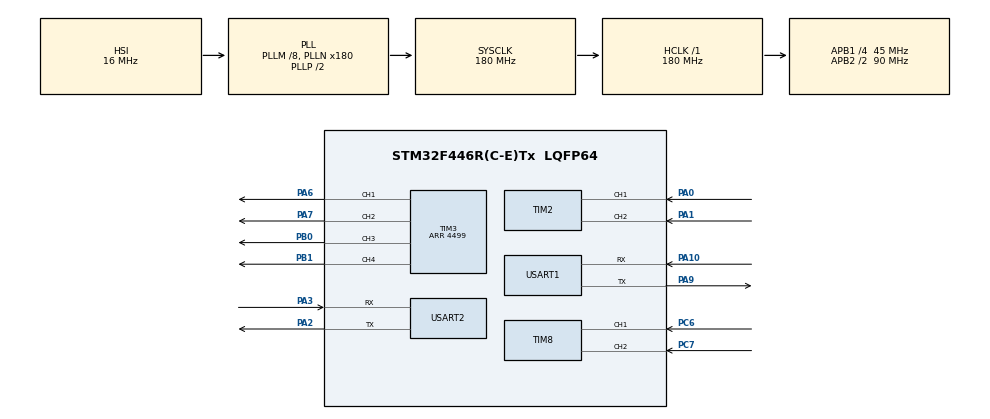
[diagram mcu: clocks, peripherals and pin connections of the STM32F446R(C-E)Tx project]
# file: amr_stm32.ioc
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Mcu.Family=STM32F4
Mcu.Name=STM32F446R(C-E)Tx
Mcu.Package=LQFP64
NVIC.PriorityGroup=NVIC_PRIORITYGROUP_4
NVIC.USART2_IRQn=true\:0\:0\:false\:false\:true\:true\:true\:true
PA0-WKUP.Signal=S_TIM2_CH1_ETR
PA1.Signal=S_TIM2_CH2
PA10.Mode=Asynchronous
PA10.Signal=USART1_RX
PA13.Mode=Serial_Wire
PA13.Signal=SYS_JTMS-SWDIO
PA14.Mode=Serial_Wire
PA14.Signal=SYS_JTCK-SWCLK
PA2.Mode=Asynchronous
PA2.Signal=USART2_TX
PA3.Mode=Asynchronous
PA3.Signal=USART2_RX
PA6.Signal=S_TIM3_CH1
PA7.Signal=S_TIM3_CH2
PA9.Mode=Asynchronous
PA9.Signal=USART1_TX
PB0.Signal=S_TIM3_CH3
PB1.Signal=S_TIM3_CH4
PC6.Signal=S_TIM8_CH1
PC7.Signal=S_TIM8_CH2
PH0-OSC_IN.Mode=HSE-External-Clock-Source
PH0-OSC_IN.Signal=RCC_OSC_IN
PH1-OSC_OUT.Mode=HSE-External-Clock-Source
PH1-OSC_OUT.Signal=RCC_OSC_OUT
ProjectManager.HeapSize=0x400
ProjectManager.StackSize=0x400
ProjectManager.TargetToolchain=STM32CubeIDE
RCC.AHBFreq_Value=180000000
RCC.APB1CLKDivider=RCC_HCLK_DIV4
RCC.APB1Freq_Value=45000000
RCC.APB1TimFreq_Value=90000000
RCC.APB2CLKDivider=RCC_HCLK_DIV2
RCC.APB2Freq_Value=90000000
RCC.APB2TimFreq_Value=180000000
RCC.CortexFreq_Value=180000000
RCC.HCLKFreq_Value=180000000
RCC.PLLM=8
RCC.PLLN=180
RCC.SYSCLKFreq_VALUE=180000000
RCC.SYSCLKSource=RCC_SYSCLKSOURCE_PLLCLK
RCC.USBFreq_Value=180000000
RCC.VCOOutputFreq_Value=360000000
SH.S_TIM2_CH1_ETR.0=TIM2_CH1,Encoder_Interface
SH.S_TIM2_CH2.0=TIM2_CH2,Encoder_Interface
SH.S_TIM3_CH1.0=TIM3_CH1,PWM Generation1 CH1
SH.S_TIM3_CH2.0=TIM3_CH2,PWM Generation2 CH2
SH.S_TIM3_CH3.0=TIM3_CH3,PWM Generation3 CH3
SH.S_TIM3_CH4.0=TIM3_CH4,PWM Generation4 CH4
SH.S_TIM8_CH1.0=TIM8_CH1,Encoder_Interface
SH.S_TIM8_CH2.0=TIM8_CH2,Encoder_Interface
TIM2.EncoderMode=TIM_ENCODERMODE_TI12
TIM3.Channel-PWM\ Generation1\ CH1=TIM_CHANNEL_1
TIM3.Channel-PWM\ Generation2\ CH2=TIM_CHANNEL_2
TIM3.Channel-PWM\ Generation3\ CH3=TIM_CHANNEL_3
TIM3.Channel-PWM\ Generation4\ CH4=TIM_CHANNEL_4
TIM3.Period=4499
TIM8.EncoderMode=TIM_ENCODERMODE_TI12
USART1.VirtualMode=VM_ASYNC
USART2.VirtualMode=VM_ASYNC
VP_TIM3_VS_ClockSourceINT.Mode=Internal
VP_TIM3_VS_ClockSourceITR.Mode=TriggerSource_ITR0
board=custom

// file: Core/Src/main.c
/* USER CODE BEGIN Header */
/**
  ******************************************************************************
  * @file           : main.c
  * @brief          : Main program body
  ******************************************************************************
  * @attention
  *
  * Copyright (c) 2026 STMicroelectronics.
  * All rights reserved.
  *
  * This software is licensed under terms that can be found in the LICENSE file
  * in the root directory of this software component.
  * If no LICENSE file comes with this software, it is provided AS-IS.
  *
  ******************************************************************************
  */
/* USER CODE END Header */
#include "main.h"
#include "tim.h"
#include "usart.h"
#include "gpio.h"

/* USER CODE BEGIN Includes */
#include <stdio.h>          /* snprintf cho debug output */
#include "motor_driver.h"
#include "servo_buslinker.h"
#include "jetson_comm.h"
#include "ackermann.h"
/* USER CODE END Includes */

/* USER CODE BEGIN PD */
/* Hằng số chuyển đổi cmd_vel nằm trong ackermann.c (CALC_Ackermann) */
/* USER CODE END PD */

/* USER CODE BEGIN PV */
static uint32_t last_odom_ms = 0;     /* Mốc thời gian gửi odom gần nhất */
static float    current_steer = 0.0f; /* Góc lái hiện tại (độ) để gửi lên Jetson */

/* ===== Watchdog lệnh $VEL từ Jetson (AN TOÀN — bắt buộc, xem giải thích ở
 * vòng lặp chính bên dưới). Phát hiện 2026-07-04: kill hết node ROS trên
 * Jetson (hoặc rút cáp USB/USART2) nhưng xe VẪN chạy mãi ở tốc độ lệnh cuối
 * cùng, vì watchdog nội bộ của Hiwonder Motor Driver (tự dừng nếu >2s không
 * nhận I2C) bị "cho ăn" liên tục bởi việc STM32 đọc encoder mỗi 10ms bất kể
 * có $VEL mới hay không -> watchdog đó không bao giờ kích hoạt. STM32 phải
 * tự bảo vệ, không thể trông chờ Jetson luôn gửi lệnh đều đặn. ===== */
#define VEL_WATCHDOG_TIMEOUT_MS   300U  /* CẦN TUNE thực nghiệm: đủ ngắn để an
                                          * toàn, đủ dài để không dừng nhầm do
                                          * jitter mạng/CPU phía Jetson */
static uint32_t last_vel_rx_ms       = 0; /* Mốc thời gian nhận $VEL hợp lệ gần nhất */
static uint8_t  vel_watchdog_tripped = 0; /* Tránh gọi SetSpeed(0,0) lặp lại mỗi vòng lặp */
/* USER CODE END PV */

void SystemClock_Config(void);
/* USER CODE BEGIN PFP */
static void on_cmd_vel(float linear, float angular);
/* USER CODE END PFP */

int main(void)
{

  /* MCU Configuration--------------------------------------------------------*/

  /* Reset of all peripherals, Initializes the Flash interface and the Systick. */
  HAL_Init();

  /* Configure the system clock */
  SystemClock_Config();

  /* Initialize all configured peripherals */
  MX_GPIO_Init();
  MX_USART1_UART_Init();
  MX_USART2_UART_Init();
  MX_TIM2_Init();
  MX_TIM3_Init();
  MX_TIM8_Init();
  /* USER CODE BEGIN 2 */
  HAL_Delay(500);          // Đủ để các module boot, không trigger motor timeout
  DRV_Motor_Init();        // Không check return — tiếp tục dù config fail
  DRV_Servo_Init();        // Servo về vị trí trung tâm (lái thẳng)
  APP_Comm_Init(on_cmd_vel); // Bật UART2 nhận lệnh "$VEL" từ Jetson
  /* USER CODE END 2 */

  /* Infinite loop */
  while (1)
  {

    /* USER CODE BEGIN 3 */
	  /* ---- Gửi odometry lên Jetson định kỳ mỗi 10ms (100 Hz) ---- */
	  uint32_t now = HAL_GetTick();
	  if (now - last_odom_ms >= 10U) {
		  last_odom_ms = now;

		  /* Đọc encoder 2 bánh */
		  int32_t enc_l = 0, enc_r = 0;
		  DRV_Motor_GetEncoder(&enc_l, &enc_r);

		  /* debug: bật lại nếu nghi ngờ I2C lỗi (in mã lỗi đọc encoder qua UART2)
		  if (g_last_enc_i2c_err != 0) {
			  char errdbg[48];
			  snprintf(errdbg, sizeof(errdbg), "ENCERR:%c%d,ec=0x%lX\r\n",
					   g_last_enc_i2c_step, (int)g_last_enc_i2c_err,
					   (unsigned long)g_last_enc_i2c_ec);
			  APP_Comm_DebugPrint(errdbg);
		  }
		  */

		  /* Gửi "$ODO,enc_l,enc_r,steer\n" lên Jetson */
		  APP_Comm_SendOdom(enc_l, enc_r, current_steer);
	  }

	  /* ---- Xử lý lệnh "$VEL" nhận từ Jetson (gọi on_cmd_vel khi đủ frame) ---- */
	  APP_Comm_Parse();

	  /* ---- AN TOÀN: watchdog $VEL — xem giải thích đầy đủ ở khai báo biến
	   * last_vel_rx_ms phía trên. Không dùng watchdog I2C của Hiwonder vì nó
	   * bị "cho ăn" liên tục bởi việc đọc encoder mỗi 10ms ở trên, dù Jetson
	   * đã ngừng gửi lệnh từ lâu (node ROS chết, rút cáp USB/USART2...). ---- */
	  if (last_vel_rx_ms != 0U && !vel_watchdog_tripped &&
	      (now - last_vel_rx_ms) > VEL_WATCHDOG_TIMEOUT_MS) {
		  DRV_Motor_SetSpeed(0, 0);
		  vel_watchdog_tripped = 1U;
	  }
  }
  /* USER CODE END 3 */
}

void SystemClock_Config(void)
{
  RCC_OscInitTypeDef RCC_OscInitStruct = {0};
  RCC_ClkInitTypeDef RCC_ClkInitStruct = {0};

  /** Configure the main internal regulator output voltage
  */
  __HAL_RCC_PWR_CLK_ENABLE();
  __HAL_PWR_VOLTAGESCALING_CONFIG(PWR_REGULATOR_VOLTAGE_SCALE1);

  /** Initializes the RCC Oscillators according to the specified parameters
  * in the RCC_OscInitTypeDef structure.
  */
  RCC_OscInitStruct.OscillatorType = RCC_OSCILLATORTYPE_HSI;
  RCC_OscInitStruct.HSIState = RCC_HSI_ON;
  RCC_OscInitStruct.HSICalibrationValue = RCC_HSICALIBRATION_DEFAULT;
  RCC_OscInitStruct.PLL.PLLState = RCC_PLL_ON;
  RCC_OscInitStruct.PLL.PLLSource = RCC_PLLSOURCE_HSI;
  RCC_OscInitStruct.PLL.PLLM = 8;
  RCC_OscInitStruct.PLL.PLLN = 180;
  RCC_OscInitStruct.PLL.PLLP = RCC_PLLP_DIV2;
  RCC_OscInitStruct.PLL.PLLQ = 2;
  RCC_OscInitStruct.PLL.PLLR = 2;
  if (HAL_RCC_OscConfig(&RCC_OscInitStruct) != HAL_OK)
  {
    Error_Handler();
  }

  /** Activate the Over-Drive mode
  */
  if (HAL_PWREx_EnableOverDrive() != HAL_OK)
  {
    Error_Handler();
  }

  /** Initializes the CPU, AHB and APB buses clocks
  */
  RCC_ClkInitStruct.ClockType = RCC_CLOCKTYPE_HCLK|RCC_CLOCKTYPE_SYSCLK
                              |RCC_CLOCKTYPE_PCLK1|RCC_CLOCKTYPE_PCLK2;
  RCC_ClkInitStruct.SYSCLKSource = RCC_SYSCLKSOURCE_PLLCLK;
  RCC_ClkInitStruct.AHBCLKDivider = RCC_SYSCLK_DIV1;
  RCC_ClkInitStruct.APB1CLKDivider = RCC_HCLK_DIV4;
  RCC_ClkInitStruct.APB2CLKDivider = RCC_HCLK_DIV2;

  if (HAL_RCC_ClockConfig(&RCC_ClkInitStruct, FLASH_LATENCY_5) != HAL_OK)
  {
    Error_Handler();
  }
}

/* USER CODE BEGIN 4 */
/**
 * @brief  Callback nhận lệnh cmd_vel từ Jetson qua UART2.
 *         Gọi tự động từ APP_Comm_Parse() khi parse đủ 1 lệnh "$VEL" hợp lệ.
 * @note   Quy đổi Twist -> Ackermann nằm trong CALC_Ackermann (ackermann.c).
 *         Kiểm tra chiều quay motor và chiều lái servo trước khi chạy tự động.
 */
static void on_cmd_vel(float linear, float angular)
{
    int8_t spd_l, spd_r;
    /* Quy đổi cmd_vel -> tốc độ 2 bánh + góc lái; lưu góc lái để gửi odom */
    CALC_Ackermann(linear, angular, &spd_l, &spd_r, &current_steer);

    DRV_Motor_SetSpeed(spd_l, spd_r);
    DRV_Servo_SetAngle(current_steer);

    /* AN TOÀN: ghi nhận mốc thời gian nhận $VEL hợp lệ, reset cờ watchdog để
     * lần mất kết nối SAU vẫn phát hiện được (xem watchdog trong vòng lặp
     * chính, khai báo biến ở USER CODE PV). */
    last_vel_rx_ms       = HAL_GetTick();
    vel_watchdog_tripped = 0U;
}
/* USER CODE END 4 */

void Error_Handler(void)
{
  __disable_irq();
  while (1)
  {
  }
}
